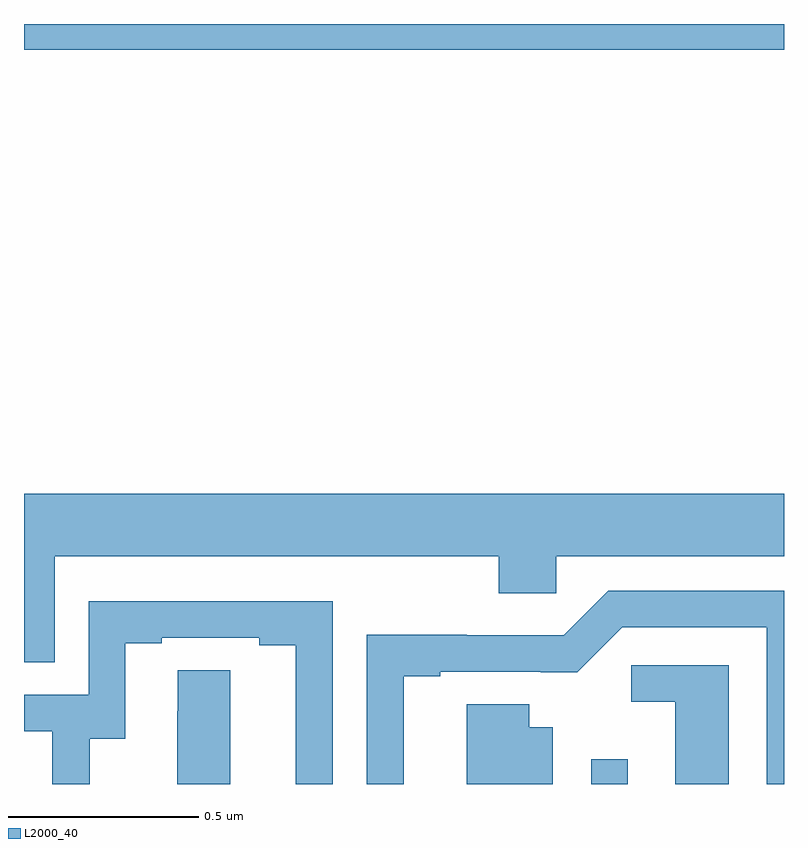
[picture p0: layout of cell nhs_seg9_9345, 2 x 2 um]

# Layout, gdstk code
import gdstk
lib = gdstk.Library(unit=1e-6, precision=1e-09)
def R(c, l, rs):  # rectangles x0, y0, x1, y1
    for r in rs: c.add(gdstk.rectangle(r[:2], r[2:], *l))
def P(c, l, *ps):  # polygons
    for p in ps: c.add(gdstk.Polygon(p, *l))
L2000_40 = (2000, 40)

nhs_seg9_9345 = lib.new_cell('nhs_seg9_9345')
R(nhs_seg9_9345, L2000_40, [(230.493,1182.5,230.589,1182.565), (229,1184.432,231,1184.5)])
P(nhs_seg9_9345, L2000_40, [(229.081,1183.1),(230.249,1183.1),(230.249,1183.002),(230.4,1183.002),(230.4,1183.1),(231,1183.1),(231,1183.264),(229,1183.264),(229,1182.82),(229.081,1182.82)],
  [(229.999,1182.783),(230.095,1182.783),(230.095,1182.795),(230.36,1182.795),(230.36,1182.794),(230.456,1182.794),(230.574,1182.912),(230.954,1182.912),(230.954,1182.5),(231,1182.5),(231,1183.008),(230.538,1183.008),(230.421,1182.891),(230.165,1182.891),(230.165,1182.893),(229.902,1182.893),(229.902,1182.5),(229.999,1182.5)],
  [(229.173,1182.619),(229.267,1182.619),(229.267,1182.87),(229.363,1182.87),(229.363,1182.885),(229.619,1182.885),(229.619,1182.865),(229.715,1182.865),(229.715,1182.5),(229.812,1182.5),(229.812,1182.981),(229.17,1182.981),(229.17,1182.735),(229,1182.735),(229,1182.639),(229.074,1182.639),(229.074,1182.5),(229.173,1182.5)],
  [(230.854,1182.813),(230.598,1182.813),(230.598,1182.716),(230.714,1182.716),(230.714,1182.5),(230.854,1182.5)],
  [(229.543,1182.8),(229.404,1182.8),(229.404,1182.692),(229.403,1182.692),(229.403,1182.5),(229.543,1182.5)],
  [(230.392,1182.649),(230.329,1182.649),(230.329,1182.71),(230.165,1182.71),(230.165,1182.5),(230.392,1182.5)])

lib.write_gds('nhs_seg9_9345.gds')
